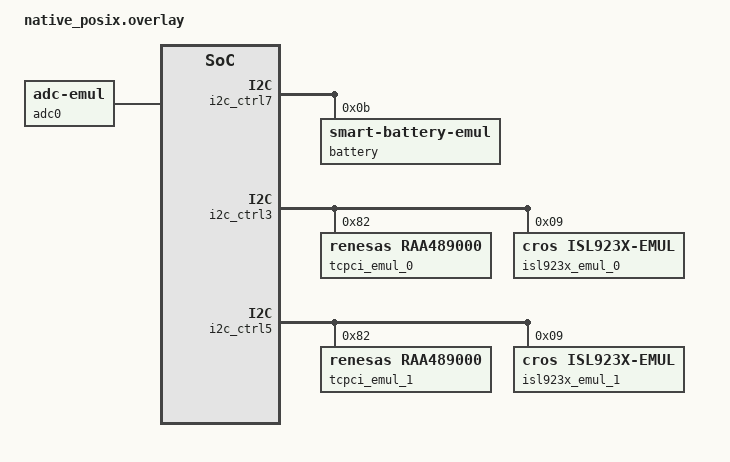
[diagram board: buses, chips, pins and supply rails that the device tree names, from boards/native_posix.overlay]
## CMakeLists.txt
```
# Copyright 2023 The ChromiumOS Authors
# Use of this source code is governed by a BSD-style license that can be
# found in the LICENSE file.

cmake_minimum_required(VERSION 3.13.1)
find_package(Zephyr REQUIRED HINTS "${ZEPHYR_BASE}")
project(ocpc)

# Include FFF fakes
add_subdirectory(${PLATFORM_EC}/zephyr/test/test_utils test_utils)

target_sources(app PRIVATE src/fakes.c)
target_sources(app PRIVATE src/main.c)
target_sources(app PRIVATE src/ocpc.c)
```

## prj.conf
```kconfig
# Copyright 2023 The ChromiumOS Authors
# Use of this source code is governed by a BSD-style license that can be
# found in the LICENSE file.

CONFIG_ZTEST=y
CONFIG_EMUL=y

# Basic EC functions
CONFIG_SHIMMED_TASKS=y
CONFIG_CROS_EC=y
CONFIG_PLATFORM_EC=y
CONFIG_PLATFORM_EC_HOOKS=y
CONFIG_PLATFORM_EC_HOSTCMD=y

# Unwanted features
CONFIG_PLATFORM_EC_VBOOT_HASH=n
CONFIG_PLATFORM_EC_BACKLIGHT_LID=n
CONFIG_PLATFORM_EC_USBC_PPC=n
CONFIG_PLATFORM_EC_USB_CHARGER=n

# Power and charger-related
CONFIG_PLATFORM_EC_POWER_BUTTON=y
CONFIG_PLATFORM_EC_CHARGER=y
CONFIG_PLATFORM_EC_OCPC=y
CONFIG_PLATFORM_EC_OCPC_DEF_RBATT_MOHMS=22
CONFIG_PLATFORM_EC_CHARGER_SENSE_RESISTOR=10
CONFIG_PLATFORM_EC_CHARGER_SENSE_RESISTOR_AC=10
CONFIG_PLATFORM_EC_USB_PD_DISCHARGE=n
CONFIG_PLATFORM_EC_USB_PD_5V_EN_CUSTOM=y
CONFIG_PLATFORM_EC_OCPC_DEF_DRIVELIMIT_MILLIVOLTS=200
CONFIG_PLATFORM_EC_I2C_VIRTUAL_BATTERY=y
CONFIG_PLATFORM_EC_CHARGER_RAA489000=y
CONFIG_PLATFORM_EC_USB_PD_TCPM_RAA489000=y
CONFIG_PLATFORM_EC_BATTERY_FUEL_GAUGE=y

# Console
CONFIG_SHELL_BACKEND_DUMMY=y
CONFIG_SHELL_BACKEND_SERIAL=n
CONFIG_SERIAL=y
CONFIG_RING_BUFFER=y
```

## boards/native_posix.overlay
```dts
/* Copyright 2020 The ChromiumOS Authors
 * Use of this source code is governed by a BSD-style license that can be
 * found in the LICENSE file.
 */

#include <board-overlays/native_posix.dts>
#include <npcx_emul.dts>
#include <dt-bindings/usb_pd_tcpm.h>
#include <dt-bindings/usbc_mux.h>

/ {
	batteries {
		default_battery: lgc {
			compatible = "lgc,ac17a8m", "battery-smart";
		};
	};

	named-i2c-ports {
		compatible = "named-i2c-ports";

		i2c_ec_i2c_usb_c0: ec_i2c_usb_c0 {
			i2c-port = <&i2c_ctrl3>;
			enum-names = "I2C_PORT_USB_C0_TCPC";
		};
		i2c_ec_i2c_sub_usb_c1: ec_i2c_sub_usb_c1 {
			i2c-port = <&i2c_ctrl5>;
			enum-names = "I2C_PORT_USB_C1_TCPC";
		};
		i2c_ec_i2c_batt: ec_i2c_batt {
			i2c-port = <&i2c_ctrl7>;
			enum-names = "I2C_PORT_BATTERY", "I2C_PORT_VIRTUAL_BATTERY";
		};
	};

	named-adc-channels {
		compatible = "named-adc-channels";

		vbus {
			enum-name = "ADC_VBUS";
			io-channels = <&adc0 1>;
			/* Measure VBUS through a 1/10 voltage divider */
			mul = <10>;
		};
	};

	aliases {
		gpio-wp = &gpio_wp;
	};

	named-gpios {
		compatible = "named-gpios";

		gpio_wp: ec-flash-wp-odl {
			gpios = <&gpio0 0 (GPIO_INPUT | GPIO_ACTIVE_LOW)>;
		};
		gpio_ec_edp_bl_en_od: ec_edp_bl_en_od {
			gpios = <&gpio0 1 GPIO_ODR_HIGH>;
			enum-name = "GPIO_ENABLE_BACKLIGHT";
		};
		gpio_gsc_ec_pwr_btn_odl: gsc_ec_pwr_btn_odl {
			gpios = <&gpio0 2 GPIO_INPUT_PULL_UP>;
			enum-name = "GPIO_POWER_BUTTON_L";
		};
		gpio_lid_open: lid_open {
			gpios = <&gpio0 3 GPIO_INPUT>;
			enum-name = "GPIO_LID_OPEN";
		};

	};

	gpio-interrupts {
		compatible = "cros-ec,gpio-interrupts";

		int_power_button: power_button {
			irq-pin = <&gpio_gsc_ec_pwr_btn_odl>;
			flags = <GPIO_INT_EDGE_BOTH>;
			handler = "power_button_interrupt";
		};
	};

	usbc {
		#address-cells = <1>;
		#size-cells = <0>;

		port0@0 {
			compatible = "named-usbc-port";
			reg = <0>;
			chg = <&isl923x_emul_0>;
			tcpc = <&tcpci_emul_0>;
			usb-mux-chain-0 {
				compatible = "cros-ec,usb-mux-chain";
				usb-muxes = <&virtual_mux_0>;
			};
		};
		port0-muxes {
			virtual_mux_0: virtual-mux-0 {
				compatible = "cros-ec,usbc-mux-virtual";
			};
		};
		port1@1 {
			compatible = "named-usbc-port";
			reg = <1>;
			chg = <&isl923x_emul_1>;
			tcpc = <&tcpci_emul_1>;
			usb-mux-chain-1 {
				compatible = "cros-ec,usb-mux-chain";
				usb-muxes = <&virtual_mux_1>;
			};
			usb_mux_chain_1_no_mux: usb-mux-chain-1-no-mux {
				compatible = "cros-ec,usb-mux-chain";
				alternative-chain;
				usb-muxes = <&virtual_mux_1>;
			};
		};
		port1-muxes {
			virtual_mux_1: virtual-mux-1 {
				compatible = "cros-ec,usbc-mux-virtual";
			};
		};
	};

	adc0: adc {
		compatible = "zephyr,adc-emul";
		nchannels = <6>;
		ref-internal-mv = <3300>;
		#io-channel-cells = <1>;
		status = "okay";
	};
};

&i2c_ctrl7 {
	battery: sb@b {
		compatible = "zephyr,smart-battery-emul";
		reg = <0xb>;
		cycle-count = <99>;
		version = "BATTERY_SPEC_VER_1_1_WITH_PEC";
		/* Real battery voltages are multiples of 4.4V. */
		desired-charg-volt = <5000>;
		desired-charg-cur = <1000>;
		mf-name = "LGC";
		dev-name = "AC17A8M";
	};
};

&i2c_ctrl3 {
	tcpci_emul_0: tcpci_emul@82 {
		compatible = "renesas,raa489000", "cros,i2c-mock";
		status = "okay";
		reg = <0x82>;
	};
	isl923x_emul_0: isl923x@9 {
		compatible = "cros,isl923x-emul";
		status = "okay";
		reg = <0x9>;
		battery = <&battery>;
	};
};

&i2c_ctrl5 {
	tcpci_emul_1: tcpci_emul@82 {
		compatible = "renesas,raa489000", "cros,i2c-mock";
		status = "okay";
		reg = <0x82>;
	};
	isl923x_emul_1: isl923x@9 {
		compatible = "cros,isl923x-emul";
		status = "okay";
		reg = <0x9>;
		battery = <&battery>;
	};
};
```

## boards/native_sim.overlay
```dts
/* Copyright 2020 The ChromiumOS Authors
 * Use of this source code is governed by a BSD-style license that can be
 * found in the LICENSE file.
 */

#include <board-overlays/native_sim.dts>
#include <npcx_emul.dts>
#include <dt-bindings/usb_pd_tcpm.h>
#include <dt-bindings/usbc_mux.h>

/ {
	batteries {
		default_battery: lgc {
			compatible = "lgc,ac17a8m", "battery-smart";
		};
	};

	named-i2c-ports {
		compatible = "named-i2c-ports";

		i2c_ec_i2c_usb_c0: ec_i2c_usb_c0 {
			i2c-port = <&i2c_ctrl3>;
			enum-names = "I2C_PORT_USB_C0_TCPC";
		};
		i2c_ec_i2c_sub_usb_c1: ec_i2c_sub_usb_c1 {
			i2c-port = <&i2c_ctrl5>;
			enum-names = "I2C_PORT_USB_C1_TCPC";
		};
		i2c_ec_i2c_batt: ec_i2c_batt {
			i2c-port = <&i2c_ctrl7>;
			enum-names = "I2C_PORT_BATTERY", "I2C_PORT_VIRTUAL_BATTERY";
		};
	};

	named-adc-channels {
		compatible = "named-adc-channels";

		vbus {
			enum-name = "ADC_VBUS";
			io-channels = <&adc0 1>;
			/* Measure VBUS through a 1/10 voltage divider */
			mul = <10>;
		};
	};

	aliases {
		gpio-wp = &gpio_wp;
	};

	named-gpios {
		compatible = "named-gpios";

		gpio_wp: ec-flash-wp-odl {
			gpios = <&gpio0 0 (GPIO_INPUT | GPIO_ACTIVE_LOW)>;
		};
		gpio_ec_edp_bl_en_od: ec_edp_bl_en_od {
			gpios = <&gpio0 1 GPIO_ODR_HIGH>;
			enum-name = "GPIO_ENABLE_BACKLIGHT";
		};
		gpio_gsc_ec_pwr_btn_odl: gsc_ec_pwr_btn_odl {
			gpios = <&gpio0 2 GPIO_INPUT_PULL_UP>;
			enum-name = "GPIO_POWER_BUTTON_L";
		};
		gpio_lid_open: lid_open {
			gpios = <&gpio0 3 GPIO_INPUT>;
			enum-name = "GPIO_LID_OPEN";
		};

	};

	gpio-interrupts {
		compatible = "cros-ec,gpio-interrupts";

		int_power_button: power_button {
			irq-pin = <&gpio_gsc_ec_pwr_btn_odl>;
			flags = <GPIO_INT_EDGE_BOTH>;
			handler = "power_button_interrupt";
		};
	};

	usbc {
		#address-cells = <1>;
		#size-cells = <0>;

		port0@0 {
			compatible = "named-usbc-port";
			reg = <0>;
			chg = <&isl923x_emul_0>;
			tcpc = <&tcpci_emul_0>;
			usb-mux-chain-0 {
				compatible = "cros-ec,usb-mux-chain";
				usb-muxes = <&virtual_mux_0>;
			};
		};
		port0-muxes {
			virtual_mux_0: virtual-mux-0 {
				compatible = "cros-ec,usbc-mux-virtual";
			};
		};
		port1@1 {
			compatible = "named-usbc-port";
			reg = <1>;
			chg = <&isl923x_emul_1>;
			tcpc = <&tcpci_emul_1>;
			usb-mux-chain-1 {
				compatible = "cros-ec,usb-mux-chain";
				usb-muxes = <&virtual_mux_1>;
			};
			usb_mux_chain_1_no_mux: usb-mux-chain-1-no-mux {
				compatible = "cros-ec,usb-mux-chain";
				alternative-chain;
				usb-muxes = <&virtual_mux_1>;
			};
		};
		port1-muxes {
			virtual_mux_1: virtual-mux-1 {
				compatible = "cros-ec,usbc-mux-virtual";
			};
		};
	};

	adc0: adc {
		compatible = "zephyr,adc-emul";
		nchannels = <6>;
		ref-internal-mv = <3300>;
		#io-channel-cells = <1>;
		status = "okay";
	};
};

&i2c_ctrl7 {
	battery: sb@b {
		compatible = "zephyr,smart-battery-emul";
		reg = <0xb>;
		cycle-count = <99>;
		version = "BATTERY_SPEC_VER_1_1_WITH_PEC";
		/* Real battery voltages are multiples of 4.4V. */
		desired-charg-volt = <5000>;
		desired-charg-cur = <1000>;
		mf-name = "LGC";
		dev-name = "AC17A8M";
	};
};

&i2c_ctrl3 {
	tcpci_emul_0: tcpci_emul@82 {
		compatible = "renesas,raa489000", "cros,i2c-mock";
		status = "okay";
		reg = <0x82>;
	};
	isl923x_emul_0: isl923x@9 {
		compatible = "cros,isl923x-emul";
		status = "okay";
		reg = <0x9>;
		battery = <&battery>;
	};
};

&i2c_ctrl5 {
	tcpci_emul_1: tcpci_emul@82 {
		compatible = "renesas,raa489000", "cros,i2c-mock";
		status = "okay";
		reg = <0x82>;
	};
	isl923x_emul_1: isl923x@9 {
		compatible = "cros,isl923x-emul";
		status = "okay";
		reg = <0x9>;
		battery = <&battery>;
	};
};
```

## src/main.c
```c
/* Copyright 2023 The ChromiumOS Authors
 * Use of this source code is governed by a BSD-style license that can be
 * found in the LICENSE file.
 */

#include "ec_app_main.h"
#include "hooks.h"

#include <zephyr/kernel.h>
#include <zephyr/ztest.h>

void test_main(void)
{
	ec_app_main();

	k_sleep(K_MSEC(1000));

	/* Run all the suites that depend on main being called */
	ztest_run_test_suites(NULL, false, 1, 1);

	/* Check that every suite ran */
	ztest_verify_all_test_suites_ran();
}
```

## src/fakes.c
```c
/* Copyright 2023 The ChromiumOS Authors
 * Use of this source code is governed by a BSD-style license that can be
 * found in the LICENSE file.
 */

int battery_is_present(void)
{
	return 1;
}

int board_set_active_charge_port(int port)
{
	return 0;
}

int pd_set_power_supply_ready(int port)
{
	return 0;
}

void pd_power_supply_reset(int port)
{
}

int board_is_sourcing_vbus(int port)
{
	return 0;
}

int pd_check_vconn_swap(int port)
{
	return 0;
}

int extpower_is_present(void)
{
	return 0;
}

int lid_is_open(void)
{
	return 0;
}
```

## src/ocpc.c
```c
/* Copyright 2023 The ChromiumOS Authors
 * Use of this source code is governed by a BSD-style license that can be
 * found in the LICENSE file.
 */
#include "charge_state.h"
#include "console.h"
#include "host_command.h"
#include "ocpc.h"

#include <string.h>

#include <zephyr/drivers/emul.h>
#include <zephyr/fff.h>
#include <zephyr/shell/shell_dummy.h>
#include <zephyr/ztest.h>

FAKE_VOID_FUNC(ocpc_get_pid_constants, int *, int *, int *, int *, int *,
	       int *);

static int test_kp, test_kp_div, test_ki, test_ki_div, test_kd, test_kd_div;

static void get_pid_constants_custom_fake(int *kp, int *kp_div, int *ki,
					  int *ki_div, int *kd, int *kd_div)
{
	*kp = test_kp;
	*kp_div = test_kp_div;
	*ki = test_ki;
	*ki_div = test_ki_div;
	*kd = test_kd;
	*kd_div = test_kd_div;
}

ZTEST_USER(ocpc, test_consolecmd_ocpcpid__read)
{
	const char *outbuffer;
	size_t buffer_size;

	/* With no args, print current state */
	shell_backend_dummy_clear_output(get_ec_shell());
	zassert_ok(shell_execute_cmd(get_ec_shell(), "ocpcpid"));
	outbuffer =
		shell_backend_dummy_get_output(get_ec_shell(), &buffer_size);

	/* Check for some expected lines */
	zassert_true(buffer_size > 0);
	zassert_ok(!strstr(outbuffer, "Kp = 1 / 4"), "Output was: `%s`",
		   outbuffer);
	zassert_ok(!strstr(outbuffer, "Ki = 1 / 15"), "Output was: `%s`",
		   outbuffer);
	zassert_ok(!strstr(outbuffer, "Kd = 1 / 10"), "Output was: `%s`",
		   outbuffer);
}

ZTEST_USER(ocpc, test_consolecmd_ocpcpid__write)
{
	const char *outbuffer;
	size_t buffer_size;

	/* Call a few times to change each parameter and examine output of final
	 * command.
	 */

	zassert_ok(shell_execute_cmd(get_ec_shell(), "ocpcpid p 2 3"));
	zassert_ok(shell_execute_cmd(get_ec_shell(), "ocpcpid i 4 5"));
	shell_backend_dummy_clear_output(get_ec_shell());
	zassert_ok(shell_execute_cmd(get_ec_shell(), "ocpcpid d 6 7"));
	outbuffer =
		shell_backend_dummy_get_output(get_ec_shell(), &buffer_size);

	zassert_true(buffer_size > 0);
	zassert_ok(!strstr(outbuffer, "Kp = 2 / 3"), "Output was: `%s`",
		   outbuffer);
	zassert_ok(!strstr(outbuffer, "Ki = 4 / 5"), "Output was: `%s`",
		   outbuffer);
	zassert_ok(!strstr(outbuffer, "Kd = 6 / 7"), "Output was: `%s`",
		   outbuffer);
}

ZTEST_USER(ocpc, test_consolecmd_ocpcpid__bad_param)
{
	zassert_equal(EC_ERROR_PARAM1,
		      shell_execute_cmd(get_ec_shell(), "ocpcpid y 0 0"));
}

ZTEST_USER(ocpc, test_consolecmd_ocpcdrvlmt)
{
	const char *outbuffer;
	size_t buffer_size;

	/* Set to 100mV */
	zassert_ok(shell_execute_cmd(get_ec_shell(), "ocpcdrvlmt 100"));

	/* Read back and verify */
	shell_backend_dummy_clear_output(get_ec_shell());
	zassert_ok(shell_execute_cmd(get_ec_shell(), "ocpcdrvlmt"));
	outbuffer =
		shell_backend_dummy_get_output(get_ec_shell(), &buffer_size);

	zassert_true(buffer_size > 0);
	zassert_ok(!strstr(outbuffer, "Drive Limit = 100"), "Output was: `%s`",
		   outbuffer);
}

ZTEST_USER(ocpc, test_consolecmd_ocpcdebug)
{
	zassert_ok(shell_execute_cmd(get_ec_shell(), "ocpcdebug ena"));
	zassert_true(test_ocpc_get_debug_output());
	zassert_false(test_ocpc_get_viz_output());

	zassert_ok(shell_execute_cmd(get_ec_shell(), "ocpcdebug dis"));
	zassert_false(test_ocpc_get_debug_output());
	zassert_false(test_ocpc_get_viz_output());

	zassert_ok(shell_execute_cmd(get_ec_shell(), "ocpcdebug viz"));
	zassert_false(test_ocpc_get_debug_output());
	zassert_true(test_ocpc_get_viz_output());

	zassert_ok(shell_execute_cmd(get_ec_shell(), "ocpcdebug all"));
	zassert_true(test_ocpc_get_debug_output());
	zassert_true(test_ocpc_get_viz_output());

	/* Bad param */
	zassert_equal(EC_ERROR_PARAM1,
		      shell_execute_cmd(get_ec_shell(), "ocpcdebug foo"));

	/* Missing param */
	zassert_equal(EC_ERROR_PARAM_COUNT,
		      shell_execute_cmd(get_ec_shell(), "ocpcdebug"));
}

ZTEST(ocpc, test_ocpc_config_secondary_charger__with_primary_charger)
{
	/* Should immediately return if a non-secondary charger is active,
	 * which is the default.
	 */

	charge_set_active_chg_chip(CHARGER_PRIMARY);

	zassert_equal(EC_ERROR_INVAL,
		      ocpc_config_secondary_charger(NULL, NULL, 0, 0));
}

ZTEST(ocpc, test_ocpc_config_secondary_charger__zero_desired_batt_curr)
{
	int expected_vsys_voltage = battery_get_info()->voltage_min;
	int desired_vsys_voltage = expected_vsys_voltage - 1;
	struct ocpc_data test_ocpc = {
		.last_vsys = expected_vsys_voltage - 10,
	};

	charge_set_active_chg_chip(CHARGER_SECONDARY);

	zassert_equal(EC_SUCCESS,
		      ocpc_config_secondary_charger(NULL, &test_ocpc,
						    desired_vsys_voltage, 0));

	/* Vsys should have been clamped to voltage_min */
	zassert_equal(test_ocpc.last_vsys, expected_vsys_voltage);
}

FAKE_VALUE_FUNC(int, battery_is_charge_fet_disabled);

ZTEST(ocpc, test_ocpc_config_secondary_charger__fet_disabled)
{
	charge_set_active_chg_chip(CHARGER_SECONDARY);

	/* A disabled FET should cause the function to abort */
	battery_is_charge_fet_disabled_fake.return_val = true;

	/* Use an arbitrary non-zero desired_batt_current_ma */
	zassert_equal(EC_ERROR_INVALID_CONFIG,
		      ocpc_config_secondary_charger(NULL, NULL, 0, 1000));

	/* Try again and we should hit the rate limiter */
	battery_is_charge_fet_disabled_fake.return_val = false;

	zassert_equal(EC_ERROR_BUSY,
		      ocpc_config_secondary_charger(NULL, NULL, 0, 1000));

	/* Allow the block to expire */
	k_sleep(K_SECONDS(6));
}

FAKE_VALUE_FUNC(enum ec_error_list, charger_set_vsys_compensation, int,
		struct ocpc_data *, int, int);

ZTEST(ocpc, test_ocpc_config_secondary_charger__happy)
{
	int desired_batt_voltage_mv = 123;
	int desired_batt_current_ma = 456;

	charge_set_active_chg_chip(CHARGER_SECONDARY);

	charger_set_vsys_compensation_fake.return_val = EC_SUCCESS;

	/* charger_set_vsys_compensation() will succeed and we will be
	 * done. Again use an arbitrary non-zero desired_current.
	 */
	zassert_equal(EC_SUCCESS, ocpc_config_secondary_charger(
					  NULL, NULL, desired_batt_voltage_mv,
					  desired_batt_current_ma));

	zassert_equal(1, charger_set_vsys_compensation_fake.call_count);
	zassert_equal(desired_batt_current_ma,
		      charger_set_vsys_compensation_fake.arg2_history[0]);
	zassert_equal(desired_batt_voltage_mv,
		      charger_set_vsys_compensation_fake.arg3_history[0]);
}

ZTEST(ocpc, test_ocpc_config_secondary_charger__unknown_return_code)
{
	charge_set_active_chg_chip(CHARGER_SECONDARY);

	charger_set_vsys_compensation_fake.return_val = 999;

	/* charger_set_vsys_compensation() will return an unhandled return
	 * value.
	 */
	zassert_equal(999, ocpc_config_secondary_charger(NULL, NULL, 123, 456));
}

ZTEST(ocpc, test_ocpc_config_secondary_charger__unimpl)
{
	int desired_charger_input_current;
	int desired_batt_voltage_mv = 10000;
	int desired_batt_current_ma = 1000;
	struct ocpc_data test_ocpc = {
		/* First run through loop */
		.last_vsys = OCPC_UNINIT,
	};

	charge_set_active_chg_chip(CHARGER_SECONDARY);

	/* Need to manually adjust Vsys */
	charger_set_vsys_compensation_fake.return_val = EC_ERROR_UNIMPLEMENTED;

	/* charger_set_vsys_compensation() will succeed and we will be
	 * done. Again use an arbitrary non-zero desired_current.
	 */
	zassert_equal(EC_SUCCESS, ocpc_config_secondary_charger(
					  &desired_charger_input_current,
					  &test_ocpc, desired_batt_voltage_mv,
					  desired_batt_current_ma));
}

ZTEST(ocpc, test_ocpc_config_secondary_charger__second_loop)
{
	int desired_charger_input_current = 2;
	int desired_batt_voltage_mv = 10000;
	int desired_batt_current_ma = 1000;
	int initial_integral = 123;
	struct ocpc_data test_ocpc = {
		/* Non-first run through loop */
		.last_vsys = 0,
		.integral = initial_integral,
	};

	/* Proportional controller only */
	test_ki = 0;
	test_ki_div = 1;
	test_kd = 0;
	test_kd_div = 1;
	ocpc_set_pid_constants();

	charge_set_active_chg_chip(CHARGER_SECONDARY);

	/* Need to manually adjust Vsys */
	charger_set_vsys_compensation_fake.return_val = EC_ERROR_UNIMPLEMENTED;

	/* charger_set_vsys_compensation() will succeed and we will be
	 * done. Again use an arbitrary non-zero desired_current.
	 */
	zassert_equal(EC_SUCCESS, ocpc_config_secondary_charger(
					  &desired_charger_input_current,
					  &test_ocpc, desired_batt_voltage_mv,
					  desired_batt_current_ma));

	/* Make sure the integral got updated */
	int expected_last_error =
		desired_charger_input_current - test_ocpc.secondary_ibus_ma;

	zassert_equal(expected_last_error, test_ocpc.last_error,
		      "Actual: %d, expected: %d", test_ocpc.last_error,
		      expected_last_error);
	zassert_equal(expected_last_error + initial_integral,
		      test_ocpc.integral, "Actual: %d, expected: %d",
		      test_ocpc.integral,
		      expected_last_error + initial_integral);
}

ZTEST(ocpc, test_ocpc_calc_resistances__not_charging)
{
	struct ocpc_data test_ocpc;
	struct batt_params test_batt_params;

	/* There are multiple conditions to exercise that qualify as charging */

	/* Battery current below 1666 */
	test_ocpc = (struct ocpc_data){ 0 };
	test_batt_params = (struct batt_params){
		.current = 0,
	};
	zassert_equal(EC_ERROR_INVALID_CONFIG,
		      ocpc_calc_resistances(&test_ocpc, &test_batt_params));

	/* Isys <= 0 */
	test_ocpc = (struct ocpc_data){ 0 };
	test_batt_params = (struct batt_params){
		.current = 1667,
	};
	zassert_equal(EC_ERROR_INVALID_CONFIG,
		      ocpc_calc_resistances(&test_ocpc, &test_batt_params));
}

ZTEST(ocpc, test_ocpc_calc_resistances__separate)
{
	struct ocpc_data test_ocpc;
	struct batt_params test_batt_params;

	/* Make Rsys = 1, Rbatt = 2 */
	test_ocpc = (struct ocpc_data){
		.vsys_aux_mv = 2005,
		.vsys_mv = 2000,
		.isys_ma = 1000,
	};
	test_batt_params = (struct batt_params){
		.current = 2000,
		.voltage = 1950,
	};

	/* Run enough times to become seeded. */
	for (int i = 0; i < 17; i++) {
		zassert_equal(EC_SUCCESS,
			      ocpc_calc_resistances(&test_ocpc,
						    &test_batt_params));
	}

	int expected_rbatt = (test_ocpc.vsys_mv - test_batt_params.voltage) *
			     1000 / test_batt_params.current;

	zassert_equal(expected_rbatt, test_ocpc.rbatt_mo,
		      "Actual: %d, expected: %d", test_ocpc.rbatt_mo,
		      expected_rbatt);

	int expected_rsys = (test_ocpc.vsys_aux_mv - test_ocpc.vsys_mv) * 1000 /
			    test_ocpc.isys_ma;

	zassert_equal(expected_rsys, test_ocpc.rsys_mo,
		      "Actual: %d, expected: %d", test_ocpc.rsys_mo,
		      expected_rsys);
}

static void reset(void *fixture)
{
	ARG_UNUSED(fixture);

	charge_set_active_chg_chip(CHARGER_PRIMARY);
	trigger_ocpc_reset();

	/* Reset fakes */
	RESET_FAKE(ocpc_get_pid_constants);
	RESET_FAKE(battery_is_charge_fet_disabled);
	RESET_FAKE(charger_set_vsys_compensation);

	/* Load values that match ocpc.c's defaults */
	test_kp = 1;
	test_kp_div = 4;
	test_ki = 1;
	test_ki_div = 15;
	test_kd = 1;
	test_kd_div = 10;

	ocpc_get_pid_constants_fake.custom_fake = get_pid_constants_custom_fake;

	/* Force an update which will use the above parameters. */
	ocpc_set_pid_constants();

	/* Reset the resistance calculation state */
	ocpc_calc_resistances(NULL, NULL);
	test_ocpc_reset_resistance_state();
}

ZTEST_SUITE(ocpc, NULL, NULL, reset, reset, NULL);
```
